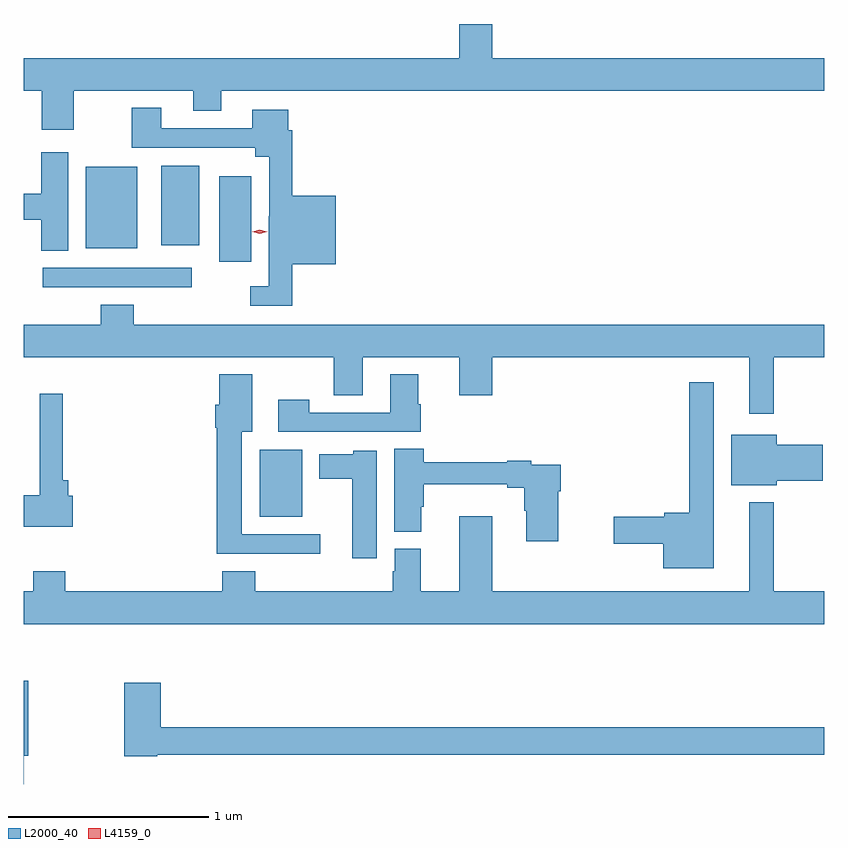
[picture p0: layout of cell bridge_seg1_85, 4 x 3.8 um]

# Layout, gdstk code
import gdstk
lib = gdstk.Library(unit=1e-6, precision=1e-09)
def R(c, l, rs):  # rectangles x0, y0, x1, y1
    for r in rs: c.add(gdstk.rectangle(r[:2], r[2:], *l))
def P(c, l, *ps):  # polygons
    for p in ps: c.add(gdstk.Polygon(p, *l))
L2000_40 = (2000, 40)
L4159_0 = (4159, 0)

bridge_seg1_85 = lib.new_cell('bridge_seg1_85')
R(bridge_seg1_85, L2000_40, [(547.628,573.581,547.84,573.916), (546.543,574.728,547.288,574.824), (547.424,574.854,547.585,575.281), (546.758,574.922,547.015,575.329), (547.136,574.937,547.324,575.335)])
P(bridge_seg1_85, L2000_40, [(546.699,575.708),(547.295,575.708),(547.295,575.609),(547.435,575.609),(547.435,575.708),(550.448,575.708),(550.448,575.872),(548.788,575.872),(548.788,576.042),(548.624,576.042),(548.624,575.872),(546.448,575.872),(546.448,575.708),(546.539,575.708),(546.539,575.514),(546.699,575.514)],
  [(547.79,574.841),(548.008,574.841),(548.008,575.185),(547.79,575.185),(547.79,575.51),(547.771,575.51),(547.771,575.614),(547.589,575.614),(547.589,575.52),(547.135,575.52),(547.135,575.623),(546.988,575.623),(546.988,575.424),(547.604,575.424),(547.604,575.378),(547.674,575.378),(547.674,575.081),(547.673,575.081),(547.673,574.731),(547.581,574.731),(547.581,574.635),(547.79,574.635)],
  [(546.67,575.401),(546.536,575.401),(546.536,575.193),(546.448,575.193),(546.448,575.063),(546.536,575.063),(546.536,574.909),(546.67,574.909)],
  [(550.195,574.376),(550.448,574.376),(550.448,574.54),(546.998,574.54),(546.998,574.639),(546.833,574.639),(546.833,574.54),(546.448,574.54),(546.448,574.376),(547.996,574.376),(547.996,574.186),(548.143,574.186),(548.143,574.376),(548.624,574.376),(548.624,574.188),(548.788,574.188),(548.788,574.376),(550.073,574.376),(550.073,574.095),(550.195,574.095)],
  [(548.432,574.143),(548.419,574.143),(548.419,574.291),(548.279,574.291),(548.279,574.101),(547.875,574.101),(547.875,574.165),(547.719,574.165),(547.719,574.005),(548.432,574.005)],
  [(547.93,573.492),(547.537,573.492),(547.537,574.004),(547.591,574.004),(547.591,574.291),(547.424,574.291),(547.424,574.14),(547.406,574.14),(547.406,574.026),(547.412,574.026),(547.412,573.395),(547.93,573.395)],
  [(549.895,574.252),(549.774,574.252),(549.774,573.599),(549.648,573.599),(549.648,573.581),(549.396,573.581),(549.396,573.446),(549.644,573.446),(549.644,573.323),(549.895,573.323)],
  [(546.692,573.684),(546.671,573.684),(546.671,573.763),(546.644,573.763),(546.644,574.195),(546.528,574.195),(546.528,573.688),(546.448,573.688),(546.448,573.53),(546.692,573.53)],
  [(550.21,573.761),(550.441,573.761),(550.441,573.939),(550.21,573.939),(550.21,573.991),(549.983,573.991),(549.983,573.737),(550.21,573.737)],
  [(549.118,573.707),(549.131,573.707),(549.131,573.84),(548.984,573.84),(548.984,573.86),(548.864,573.86),(548.864,573.853),(548.447,573.853),(548.447,573.92),(548.3,573.92),(548.3,573.505),(548.434,573.505),(548.434,573.629),(548.447,573.629),(548.447,573.743),(548.864,573.743),(548.864,573.724),(548.948,573.724),(548.948,573.609),(548.96,573.609),(548.96,573.459),(549.118,573.459)],
  [(548.212,573.91),(548.094,573.91),(548.094,573.892),(547.925,573.892),(547.925,573.77),(548.09,573.77),(548.09,573.372),(548.212,573.372)],
  [(550.448,573.208),(550.195,573.208),(550.195,573.652),(550.073,573.652),(550.073,573.208),(548.788,573.208),(548.788,573.583),(548.624,573.583),(548.624,573.208),(548.431,573.208),(548.431,573.42),(548.303,573.42),(548.303,573.309),(548.291,573.309),(548.291,573.208),(547.604,573.208),(547.604,573.307),(547.439,573.307),(547.439,573.208),(546.656,573.208),(546.656,573.307),(546.496,573.307),(546.496,573.208),(546.448,573.208),(546.448,573.044),(550.448,573.044)],
  [(546.449,572.385),(546.47,572.385),(546.47,572.761),(546.448,572.761),(546.448,572.245),(546.449,572.245)],
  [(547.116,572.392),(550.448,572.392),(550.448,572.528),(547.133,572.528),(547.133,572.752),(546.95,572.752),(546.95,572.384),(547.116,572.384)])
P(bridge_seg1_85, L4159_0, [(547.628,574.993),(547.59,575.003),(547.59,575.003),(547.59,575.003),(547.628,575.013),(547.665,575.003),(547.665,575.003),(547.665,575.003)])

lib.write_gds('bridge_seg1_85.gds')
